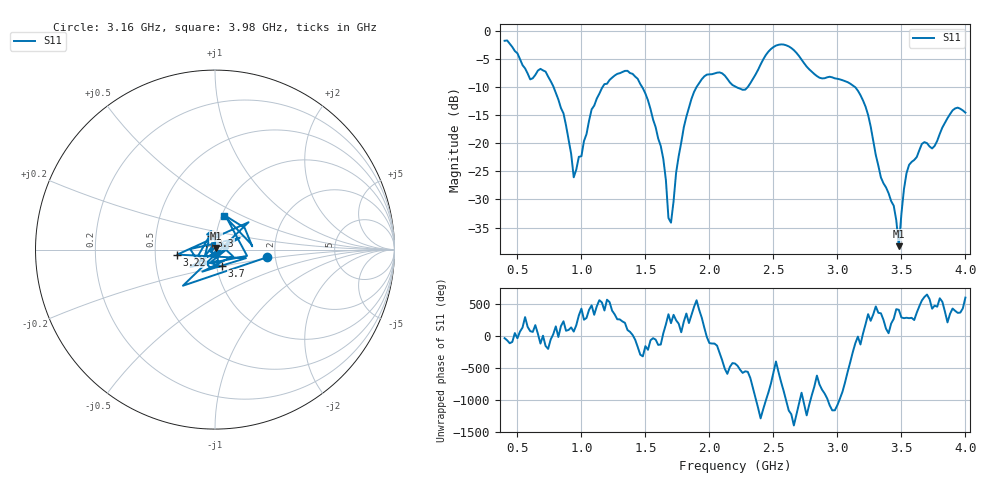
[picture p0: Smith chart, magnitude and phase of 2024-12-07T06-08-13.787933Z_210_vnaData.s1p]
!Created with skrf (http://scikit-rf.org).
# Hz S RI R 50.0
!freq ReS11 ImS11
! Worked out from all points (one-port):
!   181 points, 400 MHz to 4 GHz, reference 50 ohm
!   lowest |S11| = -38.3 dB at 3.48 GHz (marker M1), VSWR 1.02, Z = 50.7 + j0.977 ohm
!   |S11| at or under -10 dB: 783.2 MHz to 1.164 GHz (381.3 MHz wide, 39.2 % of centre); 1.476 GHz to 1.899 GHz (423.1 MHz wide, 25.1 % of centre); 3.14 GHz to end of sweep (the widest 3 of 4)
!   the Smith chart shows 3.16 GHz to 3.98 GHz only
!   S11 on the Smith chart (normalised r, x): 3.16 GHz: 1.81, -0.17; 3.22 GHz: 0.65, -0.04; 3.3 GHz: 0.95, +0.14; 3.7 GHz: 1.06, -0.20; 3.98 GHz: 1.03, +0.41
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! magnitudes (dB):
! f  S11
! 400 MHz  -1.7
! 600 MHz  -8.6
! 720 MHz  -7.2
! 860 MHz  -14.6
! 940 MHz  -26.0
! 1.08 GHz  -13.9
! 1.3 GHz  -7.5
! 1.52 GHz  -12.3
! 1.64 GHz  -22.8
! 1.68 GHz  -33.3
! 1.7 GHz  -34.1
! 1.76 GHz  -22.3
! 1.86 GHz  -12.1
! 1.94 GHz  -8.6
! 2.2 GHz  -9.8
! 2.5 GHz  -2.8
! 2.66 GHz  -3.4
! 3.1 GHz  -9.3
! 3.16 GHz  -10.6
! 3.22 GHz  -13.5
! 3.3 GHz  -22.1
! 3.44 GHz  -31.1
! 3.48 GHz  -38.3
! 3.52 GHz  -28.2
! 3.56 GHz  -23.8
! 3.7 GHz  -20.0
! 3.98 GHz  -14.1
! 4 GHz  -14.5
